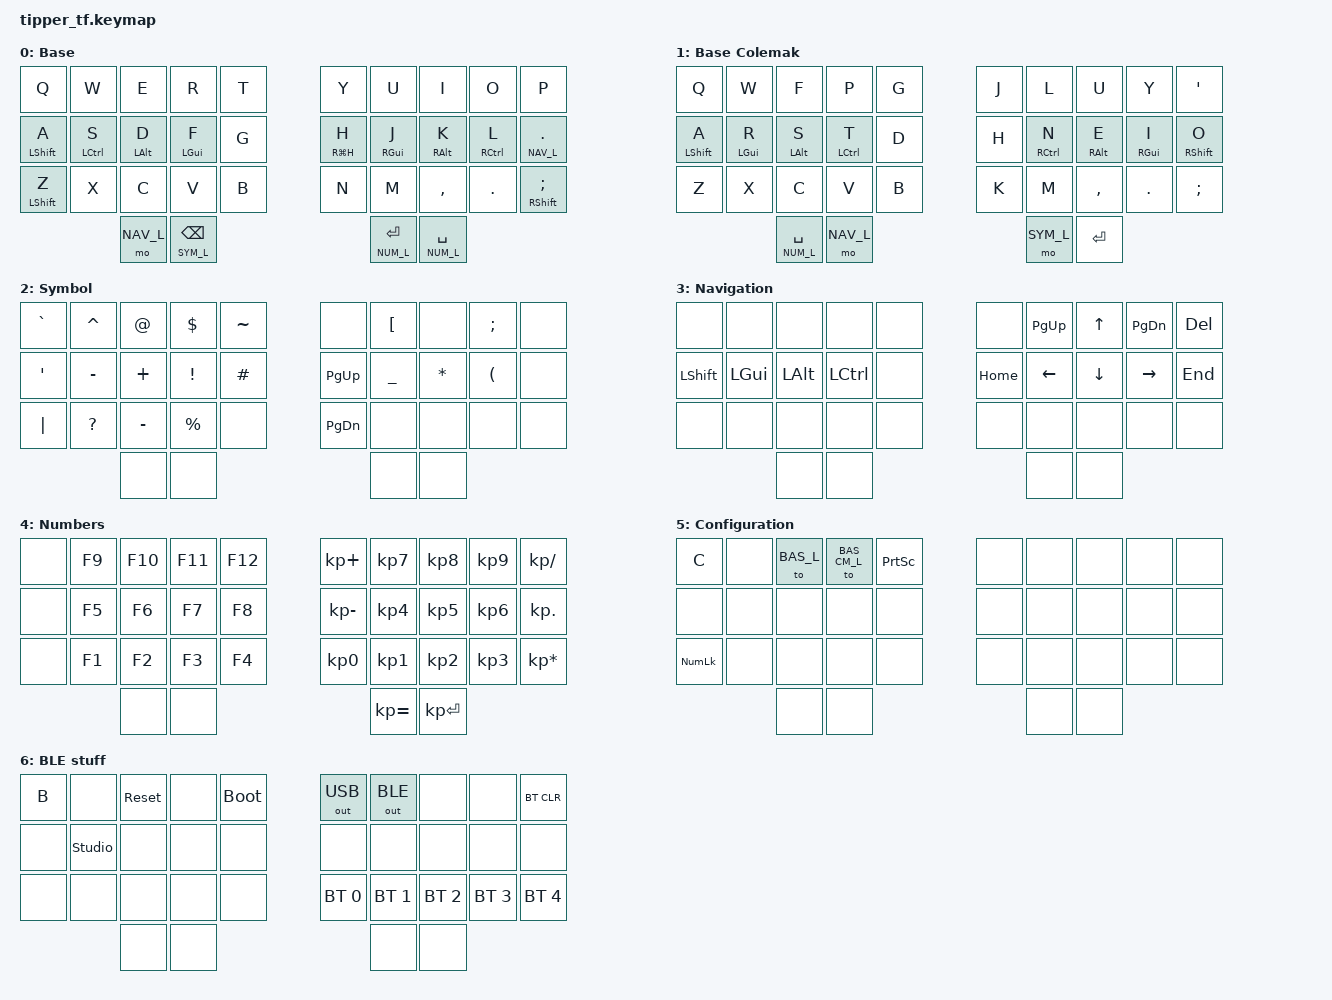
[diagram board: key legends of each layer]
/*
 * Copyright (c) 2025
 *
 * SPDX-License-Identifier: MIT
 */

#include <behaviors.dtsi>
#include <dt-bindings/zmk/keys.h>
#include <dt-bindings/zmk/bt.h>
#include <dt-bindings/zmk/outputs.h>

#define BAS_L 0
#define BAS_CM_L 1
#define SYM_L 2
#define NAV_L 3
#define NUM_L 4
#define CFG_L 5
#define BLE_L 6

// repeating space/backspace
&lt { quick-tap-ms = <200>; };

/ {
	combos {
		compatible = "zmk,combos";

		combo_slash {
			timeout-ms = <50>;
			key-positions = <0 10>;
			layers = <BAS_L BAS_CM_L>;
			bindings = <&kp SLASH>;
		};
		combo_lBracket {
			timeout-ms = <50>;
			key-positions = <1 11>;
			layers = <BAS_L BAS_CM_L>;
			bindings = <&kp LEFT_BRACKET>;
		};
		combo_lBrace {
			timeout-ms = <50>;
			key-positions = <2 12>;
			layers = <BAS_L BAS_CM_L>;
			bindings = <&kp LEFT_BRACE>;
		};
		combo_lParanthesis {
			timeout-ms = <50>;
			key-positions = <3 13>;
			layers = <BAS_L BAS_CM_L>;
			bindings = <&kp LEFT_PARENTHESIS>;
		};
		combo_equal {
			timeout-ms = <50>;
			key-positions = <4 14>;
			layers = <BAS_L BAS_CM_L>;
			bindings = <&kp EQUAL>;
		};

		combo_asterix {
			timeout-ms = <50>;
			key-positions = <5 15>;
			layers = <BAS_L BAS_CM_L>;
			bindings = <&kp ASTERISK>;
		};

		combo_rParanthesis {
			timeout-ms = <50>;
			key-positions = <6 16>;
			layers = <BAS_L BAS_CM_L>;
			bindings = <&kp RIGHT_PARENTHESIS>;
		};
		combo_rBrace {
			timeout-ms = <50>;
			key-positions = <7 17>;
			layers = <BAS_L BAS_CM_L>;
			bindings = <&kp RIGHT_BRACE>;
		};
		combo_rBracket {
			timeout-ms = <50>;
			key-positions = <8 18>;
			layers = <BAS_L BAS_CM_L>;
			bindings = <&kp RIGHT_BRACKET>;
		};
		combo_bSlash {
			timeout-ms = <50>;
			key-positions = <9 19>;
			layers = <BAS_L BAS_CM_L>;
			bindings = <&kp BACKSLASH>;
		};

		combo_tab {
			timeout-ms = <50>;
			key-positions = <1 2>;
			bindings = <&kp TAB>;
		};
		combo_backspace {
			timeout-ms = <50>;
			key-positions = <16 17>;
			bindings = <&kp BACKSPACE>;
		};
		combo_aBackspace {
			timeout-ms = <50>;
			key-positions = <16 17 18>;
			bindings = <&kp LALT(BACKSPACE)>;
		};
		combo_del {
			timeout-ms = <50>;
			key-positions = <17 18>;
			bindings = <&kp DEL>;
		};
		combo_esc {
			timeout-ms = <50>;
			key-positions = <0 1>;
			bindings = <&kp ESCAPE>;
		};

		combo_cfgLayer {
			timeout-ms = <50>;
			key-positions = <31 32>;
			bindings = <&mo CFG_L>;
		};

		combo_bleLayer {
			timeout-ms = <50>;
			key-positions = <30 31>;
			bindings = <&mo BLE_L>;
		};

		combo_capsWord {
			timeout-ms = <50>;
			key-positions = <22 27>;
			bindings = <&caps_word>;
		};
	};

	behaviors {
		hm: homerow_mods {
			compatible = "zmk,behavior-hold-tap";
			display-name = "homerow mods";
			#binding-cells = <2>;
			tapping-term-ms = <180>;
			flavor = "tap-preferred";
			bindings = <&kp>, <&kp>;
		};
	};

	keymap {
		compatible = "zmk,keymap";

		default_layer {
			display-name = "Base";
			bindings = <
				&kp Q       &kp W       &kp E       &kp R       &kp T                   &kp Y       &kp U       &kp I       &kp O       &kp P
				&hm LSHFT A &hm LCTRL S  &hm LALT D  &hm LGUI F &kp G                   &mt RG(H) H       &hm RGUI J &hm RALT K  &hm RCTRL L  &lt NAV_L DOT
				&hm LSHFT Z       &kp X       &kp C       &kp V       &kp B             &kp N       &kp M       &kp COMMA   &kp DOT     &hm RSHIFT SEMI
										  &mo NAV_L      &lt SYM_L BSPC                        &lt NUM_L ENTER   &lt NUM_L SPACE 
			>;
		};

		colemak_layer {
			display-name = "Base Colemak";
			bindings = <
				&kp Q       &kp W       &kp F       &kp P       &kp G                   &kp J       &kp L       &kp U       &kp Y       &kp QUOT
				&hm LSHFT A &hm LGUI R  &hm LALT S  &hm LCTRL T &kp D                   &kp H       &hm RCTRL N &hm RALT E  &hm RGUI I  &hm RSHFT O
				&kp Z       &kp X       &kp C       &kp V       &kp B                   &kp K       &kp M       &kp COMMA   &kp DOT     &kp SEMI
										  &lt NUM_L SPACE  &mo NAV_L                  &mo SYM_L   &kp RET 
			>;
		};

		sym_layer {
			display-name = "Symbol";
			bindings = <
				&kp GRAVE   &kp CARET   &kp AT      &kp DOLLAR  &kp TILDE               &none       &kp LBKT   &none       &kp SEMI    &none
				&kp SQT    &kp MINUS    &kp PLUS    &kp EXCL   &kp HASH                &kp PG_UP    &kp UNDER  &kp ASTRK    &kp LPAR    &none
				&kp PIPE    &kp QMARK   &kp MINUS   &kp PERCENT &none                   &kp PG_DN   &none      &none       &none       &none
													&none       &none                   &none       &none
			>;
		};

		nav_layer {
			display-name = "Navigation";
			bindings = <
				&none       &none       &none       &none       &none                   &none       &kp PG_UP   &kp UP      &kp PG_DN   &kp DEL
				&kp LSHFT   &kp LGUI    &kp LALT    &kp LCTRL   &none                   &kp HOME    &kp LEFT    &kp DOWN    &kp RIGHT   &kp END
				&none       &none       &none       &none       &none                   &none       &none       &none       &none       &none
													&none       &none                   &none       &none
			>;
		};

		num_layer {
			display-name = "Numbers";
			bindings = <
				&none       &kp F9      &kp F10     &kp F11     &kp F12                 &kp KP_PLUS &kp KP_N7   &kp KP_N8   &kp KP_N9   &kp KP_SLASH 
				&none       &kp F5      &kp F6      &kp F7      &kp F8                  &kp KP_MINUS &kp KP_N4   &kp KP_N5   &kp KP_N6   &kp KP_DOT
				&none       &kp F1      &kp F2      &kp F3      &kp F4                  &kp KP_N0 &kp KP_N1  &kp KP_N2   &kp KP_N3   &kp KP_MULTIPLY
													&none       &none                   &kp KP_EQUAL &kp KP_ENTER
			>;
		};

		cfg_layer {
			display-name = "Configuration";
			bindings = <
				&kp C       &none       &to BAS_L    &to BAS_CM_L  &kp PSCRN               &none       &none       &none       &none       &none
				&none       &none       &none        &none         &none                   &none       &none       &none       &none       &none
				&kp KP_NUM  &none       &none        &none         &none                   &none       &none       &none       &none       &none
													 &none         &none                   &none       &none
			>;
		};

		ble_layer {
			display-name = "BLE stuff";
			bindings = <
				&kp B       &none       &sys_reset  &none       &bootloader         &out OUT_USB &out OUT_BLE &none        &none        &bt BT_CLR
				&none       &studio_unlock       &none       &none       &none               &none        &none        &none        &none        &none
				&none       &none       &none       &none       &none               &bt BT_SEL 0 &bt BT_SEL 1 &bt BT_SEL 2 &bt BT_SEL 3 &bt BT_SEL 4
													&none       &none               &none       &none
			>;
		};
	};
};
